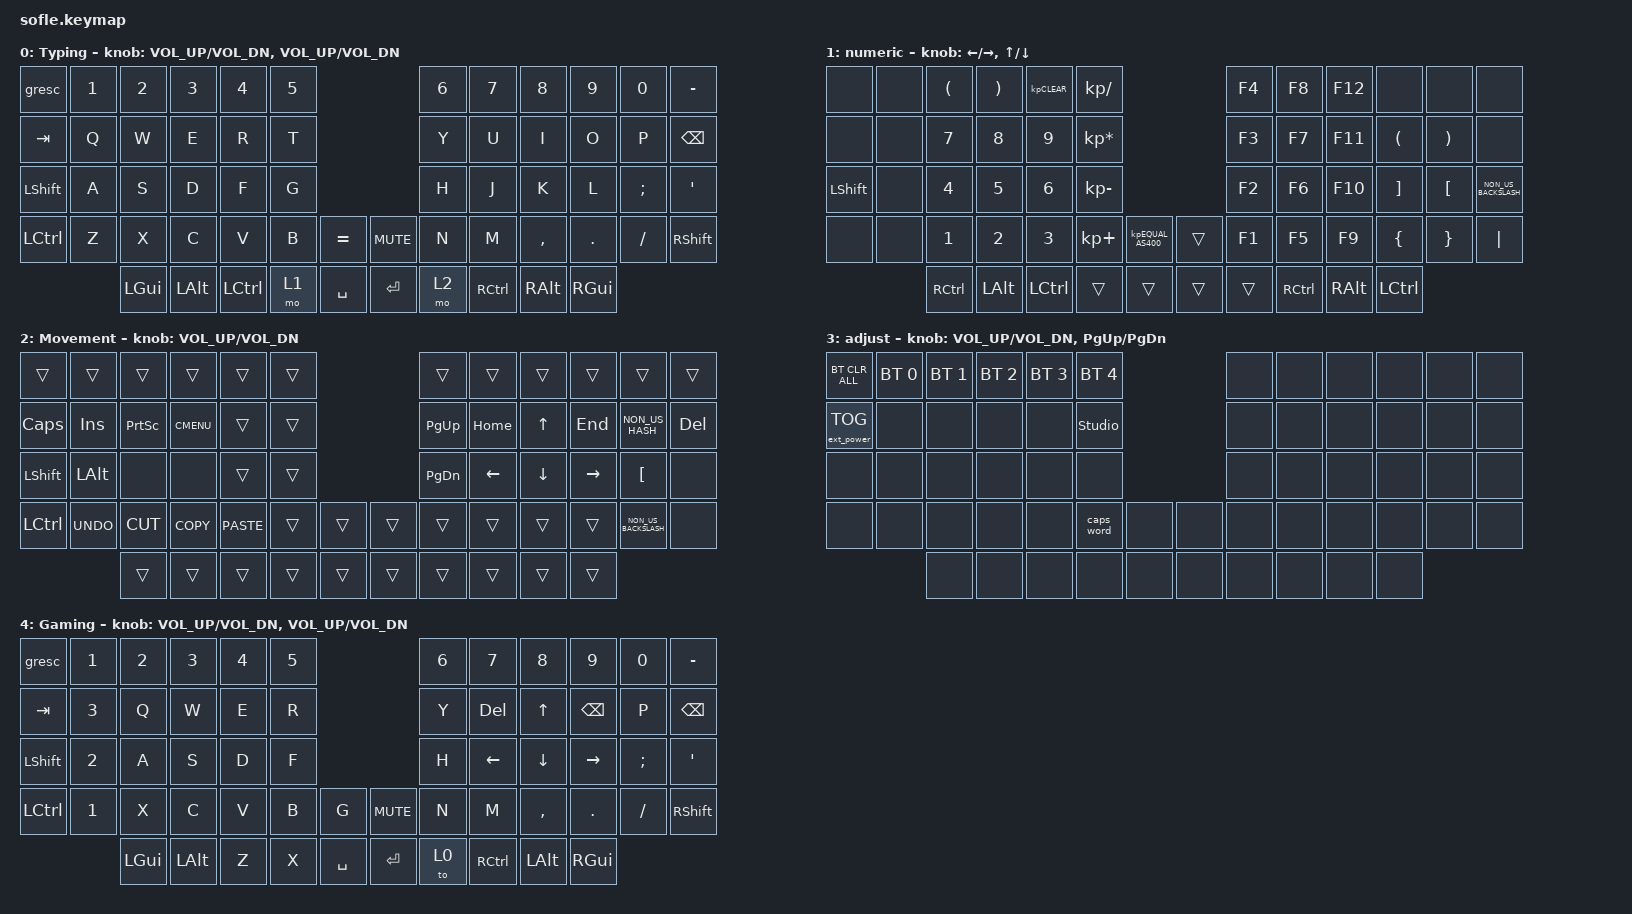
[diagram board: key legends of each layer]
/*
 * Copyright (c) 2020 The ZMK Contributors
 *
 * SPDX-License-Identifier: MIT
 */

#include <behaviors.dtsi>
#include <dt-bindings/zmk/bt.h>
#include <dt-bindings/zmk/ext_power.h>
#include <dt-bindings/zmk/keys.h>

#define BASE 0
#define LOWER 1
#define RAISE 2
#define ADJUST 3

/ {
    // Activate ADJUST layer by pressing raise and lower

    conditional_layers { compatible = "zmk,conditional-layers"; };

    combos {
        compatible = "zmk,combos";

        Delete {
            bindings = <&kp DEL>;
            key-positions = <57 23>;
        };

        esc {
            bindings = <&kp ESCAPE>;
            key-positions = <25 41>;
        };

        LayerGame {
            bindings = <&to 4>;
            key-positions = <53 56>;
        };

        Caps {
            bindings = <&kp CLCK>;
            key-positions = <24 52>;
        };

        Unlock_studio {
            bindings = <&studio_unlock>;
            key-positions = <50 59>;
        };
    };

    keymap {
        compatible = "zmk,keymap";

        // swap C_MUTE & EQUAL for encoder on the right

        Typing {
            display-name = "Typing";

            // ------------------------------------------------------------------------------------------------------------
            // |   `   |  1  |  2  |  3   |  4   |  5   |                   |  6   |  7    |  8    |  9   |   0   |       |
            // |  ESC  |  Q  |  W  |  E   |  R   |  T   |                   |  Y   |  U    |  I    |  O   |   P   | BKSPC |
            // |  TAB  |  A  |  S  |  D   |  F   |  G   |                   |  H   |  J    |  K    |  L   |   ;   |   '   |
            // | SHIFT |  Z  |  X  |  C   |  V   |  B   |  MUTE  |  |       |  N   |  M    |  ,    |  .   |   /   | SHIFT |
            //               | GUI | ALT  | CTRL | LOWER|  ENTER |  | SPACE | RAISE| CTRL  | ALT   | GUI  |

            bindings = <
&gresc            &kp N1  &kp N2    &kp N3    &kp N4     &kp N5                           &kp N6  &kp N7     &kp N8         &kp N9    &kp N0    &kp MINUS
&kp TAB           &kp Q   &kp W     &kp E     &kp R      &kp T                            &kp Y   &kp U      &kp I          &kp O     &kp P     &kp BSPC
&kp LSHIFT        &kp A   &kp S     &kp D     &kp F      &kp G                            &kp H   &kp J      &kp K          &kp L     &kp SEMI  &kp SQT
&kp LEFT_CONTROL  &kp Z   &kp X     &kp C     &kp V      &kp B   &kp EQUAL    &kp C_MUTE  &kp N   &kp M      &kp COMMA      &kp DOT   &kp FSLH  &kp RSHFT
                          &kp LGUI  &kp LALT  &kp LCTRL  &mo 1   &kp SPACE    &kp ENTER   &mo 2   &kp RCTRL  &kp RIGHT_ALT  &kp RGUI
            >;

            sensor-bindings = <&inc_dec_kp C_VOL_UP C_VOL_DN &inc_dec_kp C_VOL_UP C_VOL_DN>;
        };

        Numeric {
            display-name = "numeric";

            // TODO: Some binds are waiting for shifted keycode support.
            // ------------------------------------------------------------------------------------------------------------
            // |       |  F1 |  F2 |  F3  |  F4  |  F5  |                   |  F6  |  F7   |  F8   |  F9  |  F10  |  F11  |
            // |   `   |  1  |  2  |  3   |  4   |  5   |                   |  6   |  7    |  8    |  9   |   0   |  F12  |
            // |       |  !  |  @  |  #   |  $   |  %   |                   |  ^   |  &    |  *    |  (   |   )   |   |   |
            // |       |  =  |  -  |  +   |  {   |  }   |        |  |       |  [   |  ]    |  ;    |  :   |   \   |       |
            //               |     |      |      |      |        |  |       |      |       |       |      |

            bindings = <
&none           &none  &kp LEFT_PARENTHESIS  &kp RIGHT_PARENTHESIS  &kp KP_CLEAR      &kp KP_DIVIDE                                  &kp F4  &kp F8             &kp F12        &none                 &none                  &none
&none           &none  &kp NUMBER_7          &kp NUMBER_8           &kp NUMBER_9      &kp KP_MULTIPLY                                &kp F3  &kp F7             &kp F11        &kp LEFT_PARENTHESIS  &kp RIGHT_PARENTHESIS  &none
&kp LEFT_SHIFT  &none  &kp NUMBER_4          &kp NUMBER_5           &kp NUMBER_6      &kp KP_MINUS                                   &kp F2  &kp F6             &kp F10        &kp RIGHT_BRACKET     &kp LEFT_BRACKET       &kp NON_US_BACKSLASH
&none           &none  &kp NUMBER_1          &kp NUMBER_2           &kp NUMBER_3      &kp KP_PLUS      &kp KP_EQUAL_AS400    &trans  &kp F1  &kp F5             &kp F9         &kp LEFT_BRACE        &kp RIGHT_BRACE        &kp PIPE
                       &kp RCTRL             &kp LEFT_ALT           &kp LEFT_CONTROL  &trans           &trans                &trans  &trans  &kp RIGHT_CONTROL  &kp RIGHT_ALT  &kp LCTRL
            >;

            sensor-bindings =
                <&inc_dec_kp LEFT_ARROW RIGHT_ARROW>,
                <&inc_dec_kp UP_ARROW DOWN_ARROW>;
        };

        Movement {
            display-name = "Movement";

            // ------------------------------------------------------------------------------------------------------------
            // | BTCLR | BT1  | BT2  |  BT3  |  BT4  |  BT5 |                |      |      |       |      |       |       |
            // |       | INS  | PSCR | GUI   |       |      |                | PGUP |      |   ^   |      |       |       |
            // |       | ALT  | CTRL | SHIFT |       | CAPS |                | PGDN |   <- |   v   |  ->  |  DEL  | BKSPC |
            // |       | UNDO | CUT  | COPY  | PASTE |      |      |  |      |      |      |       |      |       |       |
            //                |      |       |       |      |      |  |      |      |      |       |      |

            bindings = <
&trans            &trans      &trans     &trans       &trans       &trans                    &trans     &trans    &trans    &trans     &trans                &trans
&kp CAPSLOCK      &kp INS     &kp PSCRN  &kp K_CMENU  &trans       &trans                    &kp PG_UP  &kp HOME  &kp UP    &kp END    &kp NON_US_HASH       &kp DELETE
&kp LEFT_SHIFT    &kp LALT    &none      &none        &trans       &trans                    &kp PG_DN  &kp LEFT  &kp DOWN  &kp RIGHT  &kp LEFT_BRACKET      &none
&kp LEFT_CONTROL  &kp K_UNDO  &kp K_CUT  &kp K_COPY   &kp K_PASTE  &trans  &trans    &trans  &trans     &trans    &trans    &trans     &kp NON_US_BACKSLASH  &none
                              &trans     &trans       &trans       &trans  &trans    &trans  &trans     &trans    &trans    &trans
            >;

            sensor-bindings = <&inc_dec_kp C_VOL_UP C_VOL_DN>;
        };

        adjust_layer {
            // ----------------------------------------------------------------------------------------------------------------------------
            // | BTCLR  |  BT1    |  BT2    |   BT3   |   BT4   |   BT5   |                  |      |      |       |      |       |       |
            // | EXTPWR | RGB_HUD | RGB_HUI | RGB_SAD | RGB_SAI | RGB_EFF |                  |      |      |       |      |       |       |
            // |        | RGB_BRD | RGB_BRI |         |         |         |                  |      |      |       |      |       |       |
            // |        |         |         |         |         |         | RGB_TOG | |      |      |      |       |      |       |       |
            //                    |         |         |         |         |         | |      |      |      |       |      |

            display-name = "adjust";
            bindings = <
&bt BT_CLR_ALL     &bt BT_SEL 0  &bt BT_SEL 1  &bt BT_SEL 2  &bt BT_SEL 3  &bt BT_SEL 4                    &none  &none  &none  &none  &none  &none
&ext_power EP_TOG  &none         &none         &none         &none         &studio_unlock                  &none  &none  &none  &none  &none  &none
&none              &none         &none         &none         &none         &none                           &none  &none  &none  &none  &none  &none
&none              &none         &none         &none         &none         &caps_word      &none    &none  &none  &none  &none  &none  &none  &none
                                 &none         &none         &none         &none           &none    &none  &none  &none  &none  &none
            >;

            sensor-bindings = <&inc_dec_kp C_VOL_UP C_VOL_DN &inc_dec_kp PG_UP PG_DN>;
        };

        Gaming {
            display-name = "Gaming";
            bindings = <
&gresc            &kp N1        &kp N2    &kp N3    &kp N4  &kp N5                           &kp N6  &kp N7      &kp N8        &kp N9         &kp N0    &kp MINUS
&kp TAB           &kp NUMBER_3  &kp Q     &kp W     &kp E   &kp R                            &kp Y   &kp DELETE  &kp UP_ARROW  &kp BACKSPACE  &kp P     &kp BSPC
&kp LEFT_SHIFT    &kp NUMBER_2  &kp A     &kp S     &kp D   &kp F                            &kp H   &kp LEFT    &kp DOWN      &kp RIGHT      &kp SEMI  &kp SQT
&kp LEFT_CONTROL  &kp NUMBER_1  &kp X     &kp C     &kp V   &kp B   &kp G        &kp C_MUTE  &kp N   &kp M       &kp COMMA     &kp DOT        &kp FSLH  &kp RSHFT
                                &kp LGUI  &kp LALT  &kp Z   &kp X   &kp SPACE    &kp ENTER   &to 0   &kp RCTRL   &kp LALT      &kp RGUI
            >;

            sensor-bindings =
                <&inc_dec_kp C_VOL_UP C_VOL_DN>,
                <&inc_dec_kp C_VOL_UP C_VOL_DN>;
        };
    };
};
